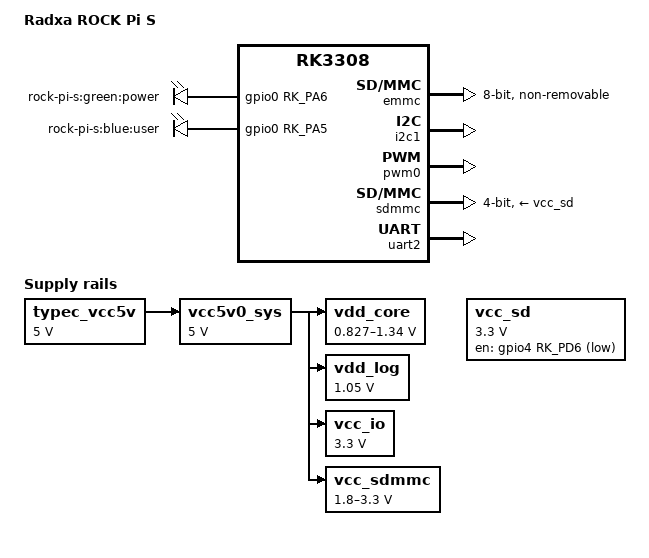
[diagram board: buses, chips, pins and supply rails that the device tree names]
// SPDX-License-Identifier: (GPL-2.0+ OR MIT)
/*
 * Copyright (c) 2019 Fuzhou Rockchip Electronics Co., Ltd
 */

/dts-v1/;
#include "rk3308.dtsi"

/ {
	model = "Radxa ROCK Pi S";
	compatible = "radxa,rock-pi-s", "rockchip,rk3308";

	chosen {
		stdout-path = "serial0:1500000n8";
	};

	leds {
		compatible = "gpio-leds";
		pinctrl-names = "default";
		pinctrl-0 = <&green_led_gio>, <&heartbeat_led_gpio>;

		green-led {
			label = "rock-pi-s:green:power";
			gpios = <&gpio0 RK_PA6 GPIO_ACTIVE_HIGH>;
			linux,default-trigger = "default-on";
			default-state = "on";
		};

		blue-led {
			label = "rock-pi-s:blue:user";
			gpios = <&gpio0 RK_PA5 GPIO_ACTIVE_HIGH>;
			default-state = "on";
			linux,default-trigger = "heartbeat";
		};
	};

	typec_vcc5v: typec-vcc5v {
		compatible = "regulator-fixed";
		regulator-name = "typec_vcc5v";
		regulator-always-on;
		regulator-boot-on;
		regulator-min-microvolt = <5000000>;
		regulator-max-microvolt = <5000000>;
	};

	vcc5v0_sys: vcc5v0-sys {
		compatible = "regulator-fixed";
		regulator-name = "vcc5v0_sys";
		regulator-min-microvolt = <5000000>;
		regulator-max-microvolt = <5000000>;
		regulator-always-on;
		regulator-boot-on;
		vin-supply = <&typec_vcc5v>;
	};

	vdd_core: vdd-core {
		compatible = "pwm-regulator";
		pwms = <&pwm0 0 5000 1>;
		regulator-name = "vdd_core";
		regulator-min-microvolt = <827000>;
		regulator-max-microvolt = <1340000>;
		regulator-init-microvolt = <1015000>;
		regulator-always-on;
		regulator-boot-on;
		regulator-settling-time-up-us = <250>;
		pwm-supply = <&vcc5v0_sys>;
	};

	vdd_log: vdd-log {
		compatible = "regulator-fixed";
		regulator-name = "vdd_log";
		regulator-always-on;
		regulator-boot-on;
		regulator-min-microvolt = <1050000>;
		regulator-max-microvolt = <1050000>;
		vin-supply = <&vcc5v0_sys>;
	};

	vcc_io: vcc-io {
		compatible = "regulator-fixed";
		regulator-name = "vcc_io";
		regulator-min-microvolt = <3300000>;
		regulator-max-microvolt = <3300000>;
		regulator-always-on;
		regulator-boot-on;
		vin-supply = <&vcc5v0_sys>;
	};

	vcc_sdmmc: vcc-sdmmc {
		compatible = "regulator-gpio";
		regulator-name = "vcc_sdmmc";
		regulator-min-microvolt = <1800000>;
		regulator-max-microvolt = <3300000>;
		gpios = <&gpio0 RK_PA7 GPIO_ACTIVE_HIGH>;
		states = <1800000 0x0
			  3300000 0x1>;
		vin-supply = <&vcc5v0_sys>;
	};

	vcc_sd: vcc-sd {
		compatible = "regulator-fixed";
		gpio = <&gpio4 RK_PD6 GPIO_ACTIVE_LOW>;
		regulator-name = "vcc_sd";
		regulator-min-microvolt = <3300000>;
		regulator-max-microvolt = <3300000>;
		regulator-always-on;
		regulator-boot-on;
		vim-supply = <&vcc_io>;
	};

};

&cpu0 {
	cpu-supply = <&vdd_core>;
};

&emmc {
	bus-width = <8>;
	cap-mmc-highspeed;
	supports-emmc;
	disable-wp;
	non-removable;
	num-slots = <1>;
	status = "okay";
};

&i2c1 {
	status = "okay";
};

&pinctrl {
	pinctrl-names = "default";
	pinctrl-0 = <&rtc_32k>;

	leds {
		green_led_gio: green-led-gpio {
			rockchip,pins = <0 RK_PA6 RK_FUNC_GPIO &pcfg_pull_none>;
		};

		heartbeat_led_gpio: heartbeat-led-gpio {
			rockchip,pins = <0 RK_PA5 RK_FUNC_GPIO &pcfg_pull_none>;
		};
	};

	usb {
		otg_vbus_drv: otg-vbus-drv {
			rockchip,pins = <0 RK_PC5 RK_FUNC_GPIO &pcfg_pull_none>;
		};
	};
};

&pwm0 {
	status = "okay";
	pinctrl-0 = <&pwm0_pin_pull_down>;
};

&sdmmc {
	bus-width = <4>;
	cap-mmc-highspeed;
	cap-sd-highspeed;
	supports-sd;
	card-detect-delay = <300>;
	sd-uhs-sdr25;
	sd-uhs-sdr50;
	sd-uhs-sdr104;
	vmmc-supply = <&vcc_sd>;
	vqmmc-supply = <&vcc_sdmmc>;
	status = "okay";
};

&uart2 {
	status = "okay";
};
